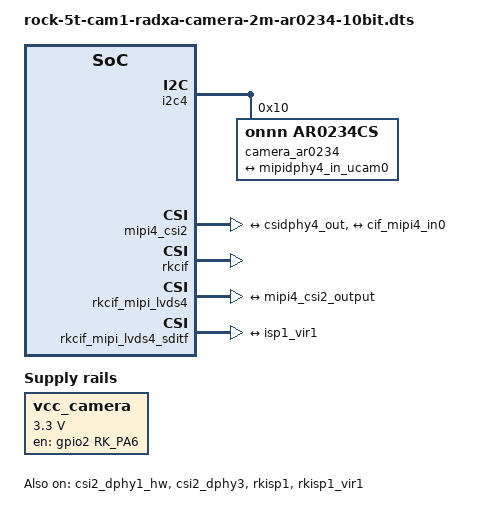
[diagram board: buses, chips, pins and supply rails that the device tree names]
/dts-v1/;
/plugin/;

#include <dt-bindings/gpio/gpio.h>
#include <dt-bindings/pinctrl/rockchip.h>

/ {
	metadata {
		title = "Enable Radxa Camera 2M AR0234 with RAW10 format on CAM1";
		compatible = "radxa,rock-5t";
		category = "camera";
		exclusive = "GPIO2_A6", "csi2_dphy1", "i2c4";
		description = "Enable Radxa Camera 2M AR0234 with RAW10 format on CAM1.";
	};
};

&{/} {
	vcc_camera: vcc-camera {
		status = "okay";
		compatible = "regulator-fixed";
		regulator-name = "vcc_camera";
		gpio = <&gpio2 RK_PA6 GPIO_ACTIVE_HIGH>;
		enable-active-high;
		regulator-min-microvolt = <3300000>;
		regulator-max-microvolt = <3300000>;
		regulator-always-on;
	};
};

&i2c4 {
	status = "okay";
	pinctrl-names = "default";
	pinctrl-0 = <&i2c4m1_xfer>;
	#address-cells = <1>;
	#size-cells = <0>;

	camera_ar0234: camera-ar0234@10 {
		status = "okay";
		compatible = "onnn,ar0234cs";
		reg = <0x10>;
		rockchip,camera-module-index = <1>;
		rockchip,camera-module-facing = "back";
		rockchip,camera-module-name = "default";
		rockchip,camera-module-lens-name = "default";

		port {
			ar0234_out4: endpoint {
				remote-endpoint = <&mipidphy4_in_ucam0>;
				data-lanes = <1 2 3 4>;
				link-frequencies = /bits/ 64 <450000000>;
			};
		};
	};
};

&csi2_dphy1_hw {
	status = "okay";
};

&csi2_dphy3 {
	status = "okay";

	ports {
		#address-cells = <1>;
		#size-cells = <0>;

		port@0 {
			reg = <0>;
			#address-cells = <1>;
			#size-cells = <0>;

			mipidphy4_in_ucam0: endpoint@1 {
				reg = <1>;
				remote-endpoint = <&ar0234_out4>;
				data-lanes = <1 2 3 4>;
			};
		};

		port@1 {
			reg = <1>;
			#address-cells = <1>;
			#size-cells = <0>;

			csidphy4_out: endpoint@0 {
				reg = <0>;
				remote-endpoint = <&mipi4_csi2_input>;
			};
		};
	};
};

&mipi4_csi2 {
	status = "okay";

	ports {
		#address-cells = <1>;
		#size-cells = <0>;

		port@0 {
			reg = <0>;
			#address-cells = <1>;
			#size-cells = <0>;

			mipi4_csi2_input: endpoint@1 {
				reg = <1>;
				remote-endpoint = <&csidphy4_out>;
			};
		};

		port@1 {
			reg = <1>;
			#address-cells = <1>;
			#size-cells = <0>;

			mipi4_csi2_output: endpoint@0 {
				reg = <0>;
				remote-endpoint = <&cif_mipi4_in0>;
			};
		};
	};
};

&rkcif {
	status = "okay";
};

&rkcif_mipi_lvds4 {
	status = "okay";

	port {
		cif_mipi4_in0: endpoint {
			remote-endpoint = <&mipi4_csi2_output>;
		};
	};
};

&rkcif_mipi_lvds4_sditf {
	status = "okay";

	port {
		mipi_lvds4_sditf: endpoint {
			remote-endpoint = <&isp1_vir1>;
		};
	};
};

&rkcif_mmu {
	status = "okay";
};

&isp1_mmu {
	status = "okay";
};

&rkisp1 {
	status = "okay";
};

&rkisp1_vir1 {
	status = "okay";

	port {
		#address-cells = <1>;
		#size-cells = <0>;

		isp1_vir1: endpoint@0 {
			reg = <0>;
			remote-endpoint = <&mipi_lvds4_sditf>;
		};
	};
};
